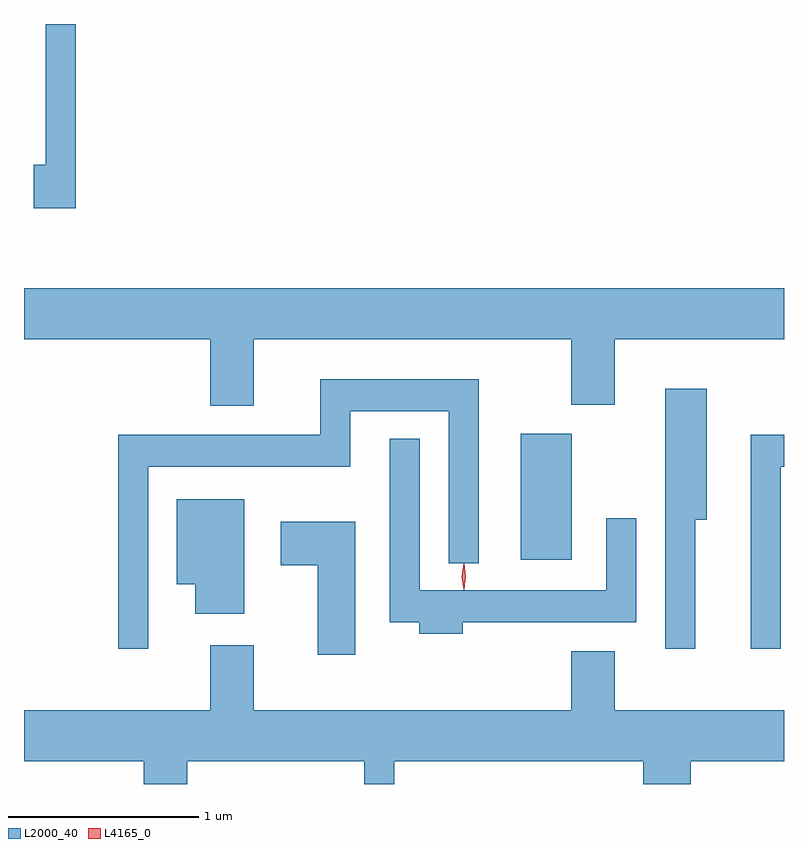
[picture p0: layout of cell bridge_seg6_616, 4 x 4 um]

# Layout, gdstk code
import gdstk
lib = gdstk.Library(unit=1e-6, precision=1e-09)
def R(c, l, rs):  # rectangles x0, y0, x1, y1
    for r in rs: c.add(gdstk.rectangle(r[:2], r[2:], *l))
def P(c, l, *ps):  # polygons
    for p in ps: c.add(gdstk.Polygon(p, *l))
L2000_40 = (2000, 40)
L4165_0 = (4165, 0)

bridge_seg6_616 = lib.new_cell('bridge_seg6_616')
R(bridge_seg6_616, L2000_40, [(304.796,1650.996,305.064,1651.659)])
P(bridge_seg6_616, L2000_40, [(302.454,1653.815),(302.296,1653.815),(302.296,1653.074),(302.231,1653.074),(302.231,1652.846),(302.454,1652.846)],
  [(303.389,1652.156),(305.061,1652.156),(305.061,1651.811),(305.289,1651.811),(305.289,1652.156),(306.181,1652.156),(306.181,1652.424),(302.181,1652.424),(302.181,1652.156),(303.161,1652.156),(303.161,1651.806),(303.389,1651.806)],
  [(302.834,1651.486),(303.899,1651.486),(303.899,1651.776),(304.416,1651.776),(304.416,1650.978),(304.574,1650.978),(304.574,1651.944),(303.741,1651.944),(303.741,1651.654),(302.676,1651.654),(302.676,1650.528),(302.834,1650.528)],
  [(305.714,1651.206),(305.774,1651.206),(305.774,1651.894),(305.556,1651.894),(305.556,1650.528),(305.714,1650.528)],
  [(306.164,1651.486),(306.181,1651.486),(306.181,1651.654),(306.006,1651.654),(306.006,1650.528),(306.164,1650.528)],
  [(304.489,1650.666),(305.404,1650.666),(305.404,1651.213),(305.246,1651.213),(305.246,1650.834),(304.264,1650.834),(304.264,1651.633),(304.106,1651.633),(304.106,1650.666),(304.261,1650.666),(304.261,1650.606),(304.489,1650.606)],
  [(303.339,1651.314),(302.986,1651.314),(302.986,1650.866),(303.081,1650.866),(303.081,1650.711),(303.339,1650.711)],
  [(303.924,1651.194),(303.531,1651.194),(303.531,1650.966),(303.726,1650.966),(303.726,1650.496),(303.924,1650.496)],
  [(303.039,1649.936),(303.971,1649.936),(303.971,1649.815),(304.129,1649.815),(304.129,1649.936),(305.441,1649.936),(305.441,1649.815),(305.689,1649.815),(305.689,1649.936),(306.181,1649.936),(306.181,1650.204),(305.289,1650.204),(305.289,1650.514),(305.061,1650.514),(305.061,1650.204),(303.389,1650.204),(303.389,1650.544),(303.161,1650.544),(303.161,1650.204),(302.181,1650.204),(302.181,1649.936),(302.811,1649.936),(302.811,1649.815),(303.039,1649.815)])
P(bridge_seg6_616, L4165_0, [(304.496,1650.837),(304.496,1650.838),(304.486,1650.907),(304.496,1650.976),(304.496,1650.976),(304.497,1650.976),(304.506,1650.907),(304.497,1650.838)],
  [(304.497,1650.839),(304.497,1650.84),(304.488,1650.906),(304.497,1650.972),(304.497,1650.973),(304.498,1650.972),(304.507,1650.906),(304.498,1650.84)])

lib.write_gds('bridge_seg6_616.gds')
